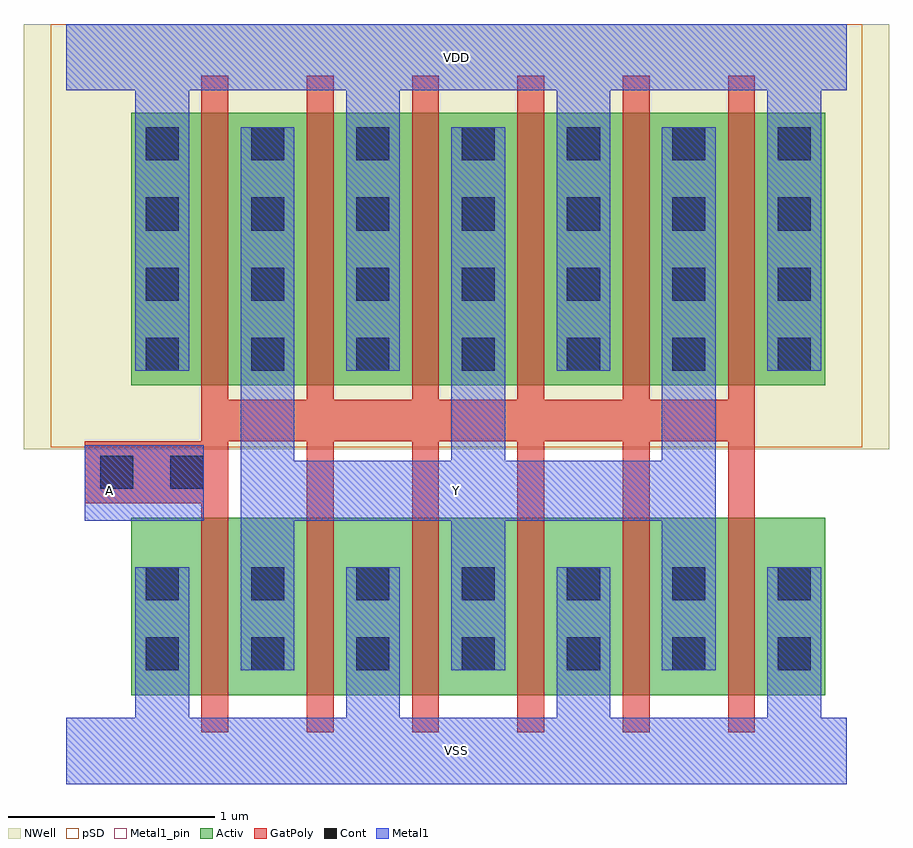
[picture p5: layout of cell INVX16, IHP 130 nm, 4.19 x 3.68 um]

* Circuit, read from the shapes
.subckt INVX16 A VDD VSS Y
XM1 Y A VSS VSUBS sg13_lv_nmos w=0.86u l=0.13u m=6
XM2 Y A VDD n1 sg13_lv_pmos w=1.32u l=0.13u m=6
.ends

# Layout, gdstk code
import gdstk
lib = gdstk.Library(unit=1e-6, precision=1e-09)
def R(c, l, rs):  # rectangles x0, y0, x1, y1
    for r in rs: c.add(gdstk.rectangle(r[:2], r[2:], *l))
def A(c, l, x, y, w, h, nx, ny, dx, dy):  # array of equal rectangles
    R(c, l, [(x+i*dx, y+j*dy, x+i*dx+w, y+j*dy+h) for i in range(nx) for j in range(ny)])
def P(c, l, *ps):  # polygons
    for p in ps: c.add(gdstk.Polygon(p, *l))
Activ = (1, 0)
GatPoly = (5, 0)
Cont = (6, 0)
Metal1 = (8, 0)
Metal1_pin = (8, 2)
pSD = (14, 0)
NWell = (31, 0)

invx16 = lib.new_cell('INVX16')
R(invx16, Activ, [(0.315,0.27,3.675,1.13), (0.315,1.77,3.675,3.09)])
P(invx16, GatPoly, [(0.655,0.09),(0.655,1.2),(0.09,1.2),(0.09,1.5),(0.655,1.5),(0.655,3.27),(0.785,3.27),(0.785,1.7),(1.165,1.7),(1.165,3.27),(1.295,3.27),(1.295,1.7),(1.675,1.7),(1.675,3.27),(1.805,3.27),(1.805,1.7),(2.185,1.7),(2.185,3.27),(2.315,3.27),(2.315,1.7),(2.695,1.7),(2.695,3.27),(2.825,3.27),(2.825,1.7),(3.205,1.7),(3.205,3.27),(3.335,3.27),(3.335,0.09),(3.205,0.09),(3.205,1.5),(2.825,1.5),(2.825,0.09),(2.695,0.09),(2.695,1.5),(2.315,1.5),(2.315,0.09),(2.185,0.09),(2.185,1.5),(1.805,1.5),(1.805,0.09),(1.675,0.09),(1.675,1.5),(1.295,1.5),(1.295,0.09),(1.165,0.09),(1.165,1.5),(0.785,1.5),(0.785,0.09)])
A(invx16, Cont, 0.385, 0.39, 0.16, 0.16, 7, 2, 0.51, 0.34)
A(invx16, Cont, 0.385, 1.84, 0.16, 0.16, 7, 4, 0.51, 0.34)
R(invx16, Cont, [(0.165,1.27,0.325,1.43), (0.505,1.27,0.665,1.43)])
R(invx16, Metal1, [(0.09,1.115,0.665,1.48)])
P(invx16, Metal1, [(0,-0.16),(0,0.16),(0.335,0.16),(0.335,0.89),(0.595,0.89),(0.595,0.16),(1.355,0.16),(1.355,0.89),(1.615,0.89),(1.615,0.16),(2.375,0.16),(2.375,0.89),(2.635,0.89),(2.635,0.16),(3.395,0.16),(3.395,0.89),(3.655,0.89),(3.655,0.16),(3.78,0.16),(3.78,-0.16)],
  [(0.335,1.84),(0.335,3.2),(0,3.2),(0,3.52),(3.78,3.52),(3.78,3.2),(3.655,3.2),(3.655,1.84),(3.395,1.84),(3.395,3.2),(2.635,3.2),(2.635,1.84),(2.375,1.84),(2.375,3.2),(1.615,3.2),(1.615,1.84),(1.355,1.84),(1.355,3.2),(0.595,3.2),(0.595,1.84)],
  [(0.845,0.39),(0.845,3.02),(1.105,3.02),(1.105,1.405),(1.865,1.405),(1.865,3.02),(2.125,3.02),(2.125,1.405),(2.885,1.405),(2.885,3.02),(3.145,3.02),(3.145,0.39),(2.885,0.39),(2.885,1.115),(2.125,1.115),(2.125,0.39),(1.865,0.39),(1.865,1.115),(1.105,1.115),(1.105,0.39)])
R(invx16, Metal1_pin, [(0.09,1.115,0.665,1.48)])
P(invx16, Metal1_pin, [(0,-0.16),(0,0.16),(0.335,0.16),(0.335,0.89),(0.595,0.89),(0.595,0.16),(1.355,0.16),(1.355,0.89),(1.615,0.89),(1.615,0.16),(2.375,0.16),(2.375,0.89),(2.635,0.89),(2.635,0.16),(3.395,0.16),(3.395,0.89),(3.655,0.89),(3.655,0.16),(3.78,0.16),(3.78,-0.16)],
  [(0.335,1.84),(0.335,3.2),(0,3.2),(0,3.52),(3.78,3.52),(3.78,3.2),(3.655,3.2),(3.655,1.84),(3.395,1.84),(3.395,3.2),(2.635,3.2),(2.635,1.84),(2.375,1.84),(2.375,3.2),(1.615,3.2),(1.615,1.84),(1.355,1.84),(1.355,3.2),(0.595,3.2),(0.595,1.84)],
  [(0.845,0.39),(0.845,3.02),(1.105,3.02),(1.105,1.405),(1.865,1.405),(1.865,3.02),(2.125,3.02),(2.125,1.405),(2.885,1.405),(2.885,3.02),(3.145,3.02),(3.145,0.39),(2.885,0.39),(2.885,1.115),(2.125,1.115),(2.125,0.39),(1.865,0.39),(1.865,1.115),(1.105,1.115),(1.105,0.39)])
R(invx16, pSD, [(-0.075,1.47,3.855,3.52)])
R(invx16, NWell, [(-0.205,1.46,3.985,3.52)])
invx16.add(gdstk.Label('A', (0.21,1.26), layer=8, texttype=25))
invx16.add(gdstk.Label('Y', (1.89,1.26), layer=8, texttype=25))
invx16.add(gdstk.Label('VSS', (1.89,0), layer=8, texttype=25))
invx16.add(gdstk.Label('VDD', (1.89,3.36), layer=8, texttype=25))

lib.write_gds('INVX16.gds')
